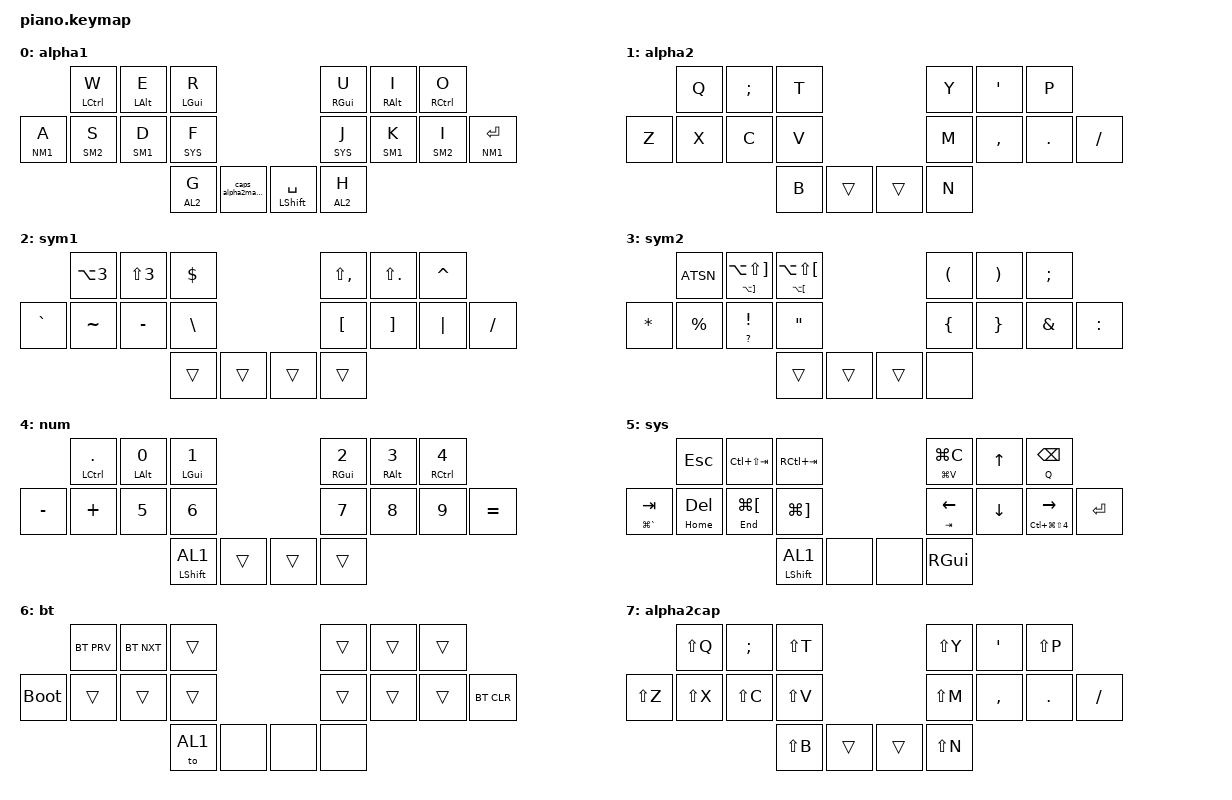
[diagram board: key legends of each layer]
/*
 * Copyright (c) 2020 The ZMK Contributors
 *
 * SPDX-License-Identifier: MIT
 */

#include <behaviors.dtsi>
#include <dt-bindings/zmk/keys.h>
#include <dt-bindings/zmk/bt.h>
#include <dt-bindings/zmk/mouse.h>



&mt {
    tapping-term-ms = <201>;
    flavor = "tap-preferred";
 };
&sk {
     release-after-ms = <2000>;
     quick-release;
 };
 
/* Layers */
#define AL1 0
#define AL2 1
#define SM1 2
#define SM2 3    
#define NM1 4    
#define SYS 5
#define BT 6    
#define AL2U 7
/ { 
    combos {
        compatible = "zmk,combos";
        combo_sys {
            timeout-ms = <30>;
        key-positions = <3 4 5>;
            bindings = <&to SYS>;
        };
        combo_caps {
            timeout-ms = <30>;
        key-positions = <10 11 12>;
            bindings = <&caps_word>;
        };
        combo_bt  {
            timeout-ms = <10>;
            key-positions = <11 12>;
            bindings = <&to BT>;
        layers = <SM1>; 
        };
        lalt {
            timeout-ms = <20>;
        key-positions = <8 9>;
            bindings = <&kp LALT>; 
        layers = <SYS>; 
        };
        lclk {
            timeout-ms = <20>;
        key-positions = <10 11>;
            bindings = <&mkp LCLK>;
        layers = <SYS>;
        };
        rclk {
            timeout-ms = <20>;
        key-positions = <3 4>;
            bindings = <&mkp RCLK>;
        layers = <SYS>;
        };


    };

    behaviors {
        hm_l: homerow_mods_left {
            compatible = "zmk,behavior-hold-tap";
            label = "HOMEROW_MODS_L";
            #binding-cells = <2>;
            tapping-term-ms = <300>;
            quick-tap-ms = <250>;
            flavor = "tap-preferred";
            bindings = <&kp>, <&kp>;
        };
        hm_r: homerow_mods_right {
            compatible = "zmk,behavior-hold-tap";
            label = "HOMEROW_MODS_R";
            #binding-cells = <2>;
            tapping-term-ms = <300>;
            quick-tap-ms = <250>;
            flavor = "tap-preferred";
            bindings = <&kp>, <&kp>;
        };
        sr: shift_layer {
            compatible = "zmk,behavior-hold-tap";
            label = "SHIFT_LAYER";
            #binding-cells = <2>;
            tapping-term-ms = <300>;
            quick_tap_ms = <0>;
            flavor = "tap-preferred";
            bindings = <&kp>, <&to>;
        retro-tap;
        };
        hl_l: homerow_layers_left {
            compatible = "zmk,behavior-hold-tap";
            label = "HOMEROW_LAYERS_L";
            #binding-cells = <2>;
            tapping-term-ms = <220>;
            quick-tap-ms = <250>;
            flavor = "tap-preferred";
            bindings = <&mo>, <&kp>;
        };
        hl_r: homerow_layers_right {
            compatible = "zmk,behavior-hold-tap";
            label = "HOMEROW_LAYERS_R";
            #binding-cells = <2>;
            tapping-term-ms = <220>;
            quick-tap-ms = <250>;
            flavor = "tap-preferred";
            bindings = <&mo>, <&kp>;
        };
    td: tapdance {
            compatible = "zmk,behavior-hold-tap";
            label = "TAPDANCE";
            #binding-cells = <2>;
            tapping-term-ms = <190>;
            quick-tap-ms = <250>;
            flavor = "tap-preferred";
            bindings = <&kp>, <&kp>;
        };
    alpha2macro: behavior_macro_1 {
        compatible = "zmk,behavior-macro";
        label = "MACRO1";
        #binding-cells = <0>;
        bindings = < &sl AL2 >;
    };
    caps_alpha2macro: behavior_macro_2 {
        compatible = "zmk,behavior-macro";
        label = "MACRO2";
        #binding-cells = <0>;
        bindings = < &sl AL2U >;
    };
    };
        //           ╭──────────┬──────────┬─────────╮                                            ╭──────────┬──────────┬─────────╮
        //           |    0     |    1     |    2    |                                            |    3     |    4     |    5    |
        //╭──────────┼──────────┼──────────┼─────────┤                                            ├──────────┼──────────┼─────────┼──────────╮
        //|     6    |    7     |    8     |    9    |                                            |    10    |    11    |    12   |    13    |
        //╰──────────┴──────────┴──────────┴─────────┼─────────┬─────────╮   ╭─────────┬──────────┼──────────┴──────────┴─────────┴──────────╯
        //                                           |   14    |   15    |   |   16    |    17    |              
        //                                           ╰─────────┴─────────╯   ╰─────────┴──────────╯

        keymap {
                compatible = "zmk,keymap";
                
        alpha1 {
        //           ╭──────────┬──────────┬─────────╮                                            ╭──────────┬──────────┬─────────╮
        //           |  CTL W   |  ALT E   |  GUI R  |                                            |   GUI U  |   ALT I  |  CTL O  |
        //╭──────────┼──────────┼──────────┼─────────┤                                            ├──────────┼──────────┼─────────┼──────────╮
        //|  NM1 A   |  SM2 S   |  SM1 D   |  SYS F  |                                            |   SYS J  |   SM1 K  |  SM2 I  |  NM1 ENT |
        //╰──────────┴──────────┴──────────┴─────────┼─────────┬─────────╮   ╭─────────┬──────────┼──────────┴──────────┴─────────┴──────────╯
        //                                           |alpha2 G |c_alpha2 |   |  SPACE  | alpha2 H |              
        //                                           ╰─────────┴─────────╯   ╰─────────┴──────────╯

        bindings = <
                     &hm_l LCTL W  &hm_l LALT E  &hm_l LGUI R                                                                     &hm_r RGUI U  &hm_r RALT I  &hm_r RCTL O      
        &hl_l NM1 A  &hl_l SM2 S   &hl_l SM1 D   &hl_l SYS F                                                                      &hl_r SYS J   &hl_r SM1 K   &hl_r SM2 I  &hl_r NM1 RET
                                                    &hl_l AL2 G &caps_alpha2macro  &hm_r LSHIFT SPACE    &hl_r AL2 H         
        >;
        };

        alpha2 {
        //           ╭──────────┬──────────┬─────────╮                                            ╭──────────┬──────────┬─────────╮
        //           |    Q     |    ;:    |    T    |                                            |    Y     |    '     |    P    |
        //╭──────────┼──────────┼──────────┼─────────┤                                            ├──────────┼──────────┼─────────┼──────────╮
        //|    Z     |    X     |    C     |    V    |                                            |    M     |   , <    │   . >   │    /?    |
        //╰──────────┴──────────┴──────────┴─────────┼─────────┬─────────╮   ╭─────────┬──────────┼──────────┴──────────┴─────────┴──────────╯
        //                                           |    B    |         |   |         |    N     |              
        //                                           ╰─────────┴─────────╯   ╰─────────┴──────────╯
        bindings = <
                  &kp Q         &kp SEMI     &kp T                                                  &kp Y      &kp SQT      &kp P         
        &kp Z     &kp X         &kp C        &kp V                                                  &kp M      &kp COMMA    &kp DOT   &kp SLASH 
                                                       &kp B  &trans            &trans   &kp N    
        >;
        };
        
        sym1 {
        //           ╭──────────┬──────────┬─────────╮                                            ╭──────────┬──────────┬─────────╮
        //           |    £     |    #     |    $    |                                            |    <     |    >     |    ^    |
        //╭──────────┼──────────┼──────────┼─────────┤                                            ├──────────┼──────────┼─────────┼──────────╮
        //|    `     |    ~     |    -     |    \    |                                            |    [     |    ]     |    |    |    /     |
        //╰──────────┴──────────┴──────────┴─────────┼─────────┬─────────╮   ╭─────────┬──────────┼──────────┴──────────┴─────────┴──────────╯
        //                                           |   SPC   | repeat  |   |c_alpha2 |  alpha2  |              
        //                                           ╰─────────┴─────────╯   ╰─────────┴──────────╯
        bindings = <
                     &kp LA(N3)   &kp LS(N3)  &kp DLLR                                          &kp LS(COMMA)  &kp LS(DOT)  &kp CARET    
        &kp GRAVE    &kp TILDE    &kp MINUS   &kp BSLH                                          &kp LBKT       &kp RBKT     &kp PIPE  &kp SLASH
                                                       &trans     &trans        &trans    &trans
        >;
        };
        sym2 {
        //           ╭──────────┬──────────┬─────────╮                                            ╭──────────┬──────────┬─────────╮
        //           |    @     |    ’     |    ”    |                                            |    (     |    )     |    ;    |
        //╭──────────┼──────────┼──────────┼─────────┤                                            ├──────────┼──────────┼─────────┼──────────╮
        //|    *     |    %     |    !     |    "    |                                            |    {     |    }     |    &    |    :     |
        //╰──────────┴──────────┴──────────┴─────────┼─────────┬─────────╮   ╭─────────┬──────────┼──────────┴──────────┴─────────┴──────────╯
        //                                           |   SPC   | repeat  |   |c_alpha2 |          |              
        //                                           ╰─────────┴─────────╯   ╰─────────┴──────────╯
        bindings = <
                      &kp ATSN  &td LA(RBKT) LA(LS(RBKT)) &td  LA(LBKT) LA(LS(LBKT))               &kp LPRN    &kp RPRN    &kp SEMI     
        &kp STAR      &kp PRCNT &td QMARK EXCL            &kp DQT                                  &kp LBRC    &kp RBRC    &kp AMPS  &kp COLON 
                                                             &trans    &trans    &trans  &none          
        >;
        };

        num {
        //           ╭──────────┬──────────┬─────────╮                                            ╭──────────┬──────────┬─────────╮
        //           |   CTL .  |  ALT  0  | GUI  1  |                                            |  GUI  2  |  ALT  3  | CTL  4  |
        //╭──────────┼──────────┼──────────┼─────────┤                                            ├──────────┼──────────┼─────────┼──────────╮
        //|    -     |    +     |    5     |    6    |                                            |    7     |    8     |    9    |    =     |
        //╰──────────┴──────────┴──────────┴─────────┼─────────┬─────────╮   ╭─────────┬──────────┼──────────┴──────────┴─────────┴──────────╯
        //                                           |SHIFT AL1| repeat  |   |c_alpha2 |          |              
        //                                           ╰─────────┴─────────╯   ╰─────────┴──────────╯
        bindings = <
                    &hm_l LCTL DOT &hm_l LALT N0 &hm_l LGUI N1                                    &hm_r RGUI N2 &hm_r RALT N3 &hm_r RCTL N4    
        &kp MINUS   &kp PLUS       &kp N5        &kp N6                                           &kp N7        &kp N8        &kp N9        &kp EQUAL
                                                     &sr LSHIFT AL1   &trans   &trans   &trans       
        >;
        };

        sys {
        //           ╭──────────┬──────────┬─────────╮                                            ╭──────────┬──────────┬─────────╮
        //           |   ESC    |   TAB    |   TAB   |                                            | C-v C-c  |    UP    |   BSK   |
        //╭──────────┼──────────┼──────────┼─────────┤                                            ├──────────┼──────────┼─────────┼──────────╮
        //|  ?  TAB  | HOME DEL | END LBKT |  RBKT   |                                            | TAB LEFT |   DOWN   | ? RIGHT |   ENTER  |
        //╰──────────┴──────────┴──────────┴─────────┼─────────┬─────────╮   ╭─────────┬──────────┼──────────┴──────────┴─────────┴──────────╯
        //                                           |SHIFT AL1| repeat  |   |c_alpha2 |  GUI     |              
        //                                           ╰─────────┴─────────╯   ╰─────────┴──────────╯
        bindings = <
                        &kp ESC  &kp LC(LS(TAB)) &kp RC(TAB)                             &td LG(V) LG(C) &kp UP   &td Q BKSP             
        &td LG(GRAVE) TAB  &td HOME DEL  &td END LG(LBKT)  &kp LG(RBKT)                  &td TAB LEFT    &kp DOWN &td  LC(LG(LS(N4))) RIGHT  &kp RET 
                                                       &sr LSHIFT AL1 &none     &none &kp RGUI        
        >;
        };

        bt {
        //           ╭──────────┬──────────┬─────────╮                                            ╭──────────┬──────────┬─────────╮
        //           |  BT_PRV  |  BT_NXT  |         |                                            |          |          |         |
        //╭──────────┼──────────┼──────────┼─────────┤                                            ├──────────┼──────────┼─────────┼──────────╮
        //|bootloader|          |          |         |                                            |          |          |         |  BT_CLR  |
        //╰──────────┴──────────┴──────────┴─────────┼─────────┬─────────╮   ╭─────────┬──────────┼──────────┴──────────┴─────────┴──────────╯
        //                                           |SHIFT AL1|         |   |         |          |              
        //                                           ╰─────────┴─────────╯   ╰─────────┴──────────╯
        bindings = <
                      &bt BT_PRV  &bt BT_NXT  &trans                                                 &trans     &trans    &trans    
        &bootloader   &trans      &trans      &trans                                                 &trans     &trans    &trans    &bt BT_CLR
                                                      &to AL1     &none       &none    &none
        >;
        };

        alpha2cap {
        //           ╭──────────┬──────────┬─────────╮                                            ╭──────────┬──────────┬─────────╮
        //           |    Q     |    ;:    |    T    |                                            |    Y     |    '     |    P    |
        //╭──────────┼──────────┼──────────┼─────────┤                                            ├──────────┼──────────┼─────────┼──────────╮
        //|    Z     |    X     |    C     |    V    |                                            |    M     |   , <    │   . >   │    /?    |
        //╰──────────┴──────────┴──────────┴─────────┼─────────┬─────────╮   ╭─────────┬──────────┼──────────┴──────────┴─────────┴──────────╯
        //                                           |    B    |         |   |         |    N     |              
        //                                           ╰─────────┴─────────╯   ╰─────────┴──────────╯
        bindings = <
                      &kp LS(Q)     &kp SEMI     &kp LS(T)                                          &kp LS(Y)  &kp SQT    &kp LS(P)    
        &kp LS(Z)     &kp LS(X)     &kp LS(C)    &kp LS(V)                                          &kp LS(M)  &kp COMMA  &kp DOT   &kp SLASH 
                                                      &kp LS(B)     &trans      &trans   &kp LS(N)
        >;
        };
        
    };
};
